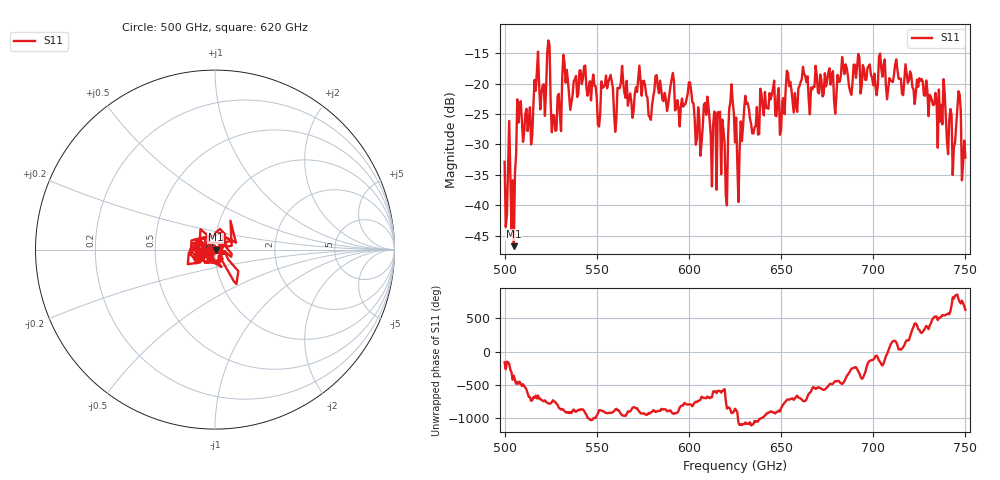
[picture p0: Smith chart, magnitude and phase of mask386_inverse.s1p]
!Created with skrf (http://scikit-rf.org).
# GHz S MA R 50.0
!freq magS11 angS11
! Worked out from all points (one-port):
!   401 points, 500 GHz to 750 GHz, reference 50 ohm
!   lowest |S11| = -46.7 dB at 505 GHz (marker M1), VSWR 1.01, Z = 50.5 - j0.00306 ohm
!   |S11| at or under -10 dB: start of sweep to end of sweep
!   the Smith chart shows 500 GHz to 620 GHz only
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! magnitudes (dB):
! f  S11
! 500 GHz  -32.9
! 505 GHz  -46.7
! 508.1 GHz  -24.2
! 513.8 GHz  -23.9
! 516.9 GHz  -21.2
! 523.8 GHz  -12.9
! 526.9 GHz  -25.2
! 531.2 GHz  -19.1
! 560.6 GHz  -25.9
! 562.5 GHz  -20.7
! 578.8 GHz  -25.6
! 590.6 GHz  -19.4
! 593.8 GHz  -22.7
! 600.6 GHz  -19.8
! 605 GHz  -23.9
! 609.4 GHz  -25.1
! 620 GHz  -38.4
! 623.1 GHz  -20.1
! 625 GHz  -29.7
! 627.5 GHz  -31.1
! 631.2 GHz  -23.3
! 635 GHz  -28.2
! 656.2 GHz  -23.0
! 687.5 GHz  -21.3
! 718.8 GHz  -19.9
! 743.8 GHz  -30.5
! 746.2 GHz  -21.3
! 750 GHz  -32.2
